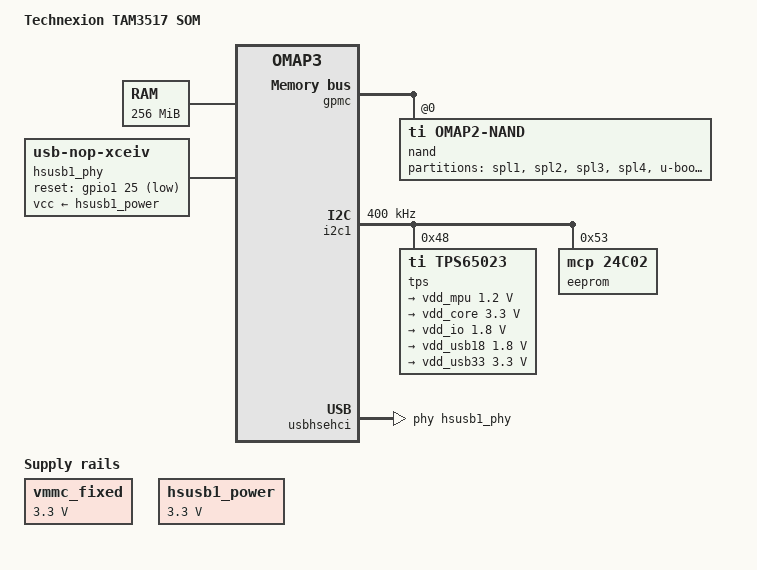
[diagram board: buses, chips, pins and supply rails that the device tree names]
#include "am3517.dtsi"

/ {
	model = "Technexion TAM3517 SOM";
	compatible = "ti,tam3517", "ti,am3517", "ti,omap3";

	memory {
		device_type = "memory";
		reg = <0x80000000 0x10000000>; /* 256 MB */
	};

	vmmc_fixed: vmmc {
		compatible = "regulator-fixed";
		regulator-name = "vmmc";
		regulator-min-microvolt = <3300000>;
		regulator-max-microvolt = <3300000>;
	};

	/* HS USB Port 1 Power, no idea where it gets its power from */
	hsusb1_power: hsusb1_power_reg {
		compatible = "regulator-fixed";
		regulator-name = "hsusb1_vbus";
		regulator-min-microvolt = <3300000>;
		regulator-max-microvolt = <3300000>;
	};

	/*
	 * http://www.ti.com/lit/er/sprz306e/sprz306e.pdf#page=42&zoom=auto,0,712
	 *
	 * HSUSB Interoperability Issue with SMSC USB3320 PHY
	 * Revision(s) Affected 1.1 and earlier
	 * Details
	 *   After suspend sequence, USB3320 USB PHY goes correctly in low-power mode:
	 *    •  DP Line goes High and DM line remains Low (J state)
	 *    •  Rbias Voltage = 0 V Whereas OMAP HOST controller exit from suspend
	 *       mode (while it is expected to keep in low power mode). OMAP Host
	 *       state (exited from low power mode) is inconsistent with PHY state
	 *       (low power mode) resulting in a lockup situation.
	 *   Resuming the port has no effect as HOST controller has already exited from
	 *   low-power mode.
	 * Root cause:
	 *   Delay in assertion of DIR causes USBHOST ULPI interface to exit ULPI
	 *   Low Power mode. USB3320 USB PHY assert DIR signal 3 clock cycle after
	 *   STP signal is de-asserted.
	 * Workaround(s)
	 *   There is no workaround
	 *
	 * The tam3517 has a SMSC USB3320 PHY connected, to make it work
	 *   usbcore.autosuspend=-1 is needed as linux boot args
	 *
	 * TODO: can we set that here somewhere?
	 */
	hsusb1_phy: hsusb1_phy {
		compatible = "usb-nop-xceiv";
		reset-gpios = <&gpio1 25 GPIO_ACTIVE_LOW>;
		vcc-supply = <&hsusb1_power>;
	};
};

&omap3_pmx_core {
	gpmc_pins: pinmux_gpmc_pins {
		pinctrl-single,pins = <
			/* gpmc_ncs0 not configurable according to the TRM */
			OMAP3_CORE1_IOPAD(0x208e, PIN_INPUT | MUX_MODE0)	/* gpmc_d0.gpmc_d0 */
			OMAP3_CORE1_IOPAD(0x2090, PIN_INPUT | MUX_MODE0)	/* gpmc_d0.gpmc_d1 */
			OMAP3_CORE1_IOPAD(0x2092, PIN_INPUT | MUX_MODE0)	/* gpmc_d0.gpmc_d2 */
			OMAP3_CORE1_IOPAD(0x2094, PIN_INPUT | MUX_MODE0)	/* gpmc_d0.gpmc_d3 */
			OMAP3_CORE1_IOPAD(0x2096, PIN_INPUT | MUX_MODE0)	/* gpmc_d0.gpmc_d4 */
			OMAP3_CORE1_IOPAD(0x2098, PIN_INPUT | MUX_MODE0)	/* gpmc_d0.gpmc_d5 */
			OMAP3_CORE1_IOPAD(0x209a, PIN_INPUT | MUX_MODE0)	/* gpmc_d0.gpmc_d6 */
			OMAP3_CORE1_IOPAD(0x209c, PIN_INPUT | MUX_MODE0)	/* gpmc_d0.gpmc_d7 */
			OMAP3_CORE1_IOPAD(0x209e, PIN_INPUT | MUX_MODE0)	/* gpmc_d8.gpmc_d8 */
			OMAP3_CORE1_IOPAD(0x20a0, PIN_INPUT | MUX_MODE0)	/* gpmc_d9.gpmc_d9 */
			OMAP3_CORE1_IOPAD(0x20a2, PIN_INPUT | MUX_MODE0)	/* gpmc_d10.gpmc_d10 */
			OMAP3_CORE1_IOPAD(0x20a4, PIN_INPUT | MUX_MODE0)	/* gpmc_d11.gpmc_d11 */
			OMAP3_CORE1_IOPAD(0x20a6, PIN_INPUT | MUX_MODE0)	/* gpmc_d12.gpmc_d12 */
			OMAP3_CORE1_IOPAD(0x20a8, PIN_INPUT | MUX_MODE0)	/* gpmc_d13.gpmc_d13 */
			OMAP3_CORE1_IOPAD(0x20aa, PIN_INPUT | MUX_MODE0)	/* gpmc_d14.gpmc_d14 */
			OMAP3_CORE1_IOPAD(0x20ac, PIN_INPUT | MUX_MODE0)	/* gpmc_d15.gpmc_d15 */
		>;
	};

	i2c1_pins: pinmux_i2c1_pins {
		pinctrl-single,pins = <
			OMAP3_CORE1_IOPAD(0x21ba, PIN_INPUT | MUX_MODE0)	/* i2c1_scl */
			OMAP3_CORE1_IOPAD(0x21bc, PIN_INPUT | MUX_MODE0)	/* i2c1_sda */
		>;
	};
};

&omap3_pmx_core2 {
	hsusbb1_pins: pinmux_hsusbb1_pins {
		pinctrl-single,pins = <
			OMAP3430_CORE2_IOPAD(0x25da, PIN_OUTPUT | MUX_MODE3)		/* etk_ctl.hsusb1_clk */
			OMAP3430_CORE2_IOPAD(0x25d8, PIN_OUTPUT | MUX_MODE3)		/* etk_clk.hsusb1_stp */
			OMAP3430_CORE2_IOPAD(0x25ec, PIN_INPUT_PULLDOWN | MUX_MODE3)	/* etk_d8.hsusb1_dir */
			OMAP3430_CORE2_IOPAD(0x25ee, PIN_INPUT_PULLDOWN | MUX_MODE3)	/* etk_d9.hsusb1_nxt */
			OMAP3430_CORE2_IOPAD(0x25dc, PIN_INPUT_PULLDOWN | MUX_MODE3)	/* etk_d0.hsusb1_data0 */
			OMAP3430_CORE2_IOPAD(0x25de, PIN_INPUT_PULLDOWN | MUX_MODE3)	/* etk_d1.hsusb1_data1 */
			OMAP3430_CORE2_IOPAD(0x25e0, PIN_INPUT_PULLDOWN | MUX_MODE3)	/* etk_d2.hsusb1_data2 */
			OMAP3430_CORE2_IOPAD(0x25e2, PIN_INPUT_PULLDOWN | MUX_MODE3)	/* etk_d3.hsusb1_data7 */
			OMAP3430_CORE2_IOPAD(0x25e4, PIN_INPUT_PULLDOWN | MUX_MODE3)	/* etk_d4.hsusb1_data4 */
			OMAP3430_CORE2_IOPAD(0x25e6, PIN_INPUT_PULLDOWN | MUX_MODE3)	/* etk_d5.hsusb1_data5 */
			OMAP3430_CORE2_IOPAD(0x25e8, PIN_INPUT_PULLDOWN | MUX_MODE3)	/* etk_d6.hsusb1_data6 */
			OMAP3430_CORE2_IOPAD(0x25ea, PIN_INPUT_PULLDOWN | MUX_MODE3)	/* etk_d7.hsusb1_data3 */
		>;
	};

	hsusb1_phy_pins: pinmux_hsusb1_phy_pins {
		pinctrl-single,pins = <
			OMAP3430_CORE2_IOPAD(0x25F0, PIN_OUTPUT | MUX_MODE4)	/* etk_d11.gpio_25 */
		>;
	};
};

&gpmc {
	status = "okay";
	pinctrl-names = "default";
	pinctrl-0 = <&gpmc_pins>;
	ranges = <0 0 0x08000000 0x10000000>;	/* CS0: NAND */

	nand@0,0 {
		compatible = "ti,omap2-nand";
		reg = <0 0 4>; /* CS0, offset 0 */
		nand-bus-width = <16>;
		ti,nand-ecc-opt = "sw";
		gpmc,device-nand = "true";
		gpmc,device-width = <2>;
		gpmc,sync-clk-ps = <0>;
		gpmc,cs-on-ns = <0>;
		gpmc,cs-rd-off-ns = <36>;
		gpmc,cs-wr-off-ns = <36>;
		gpmc,adv-on-ns = <6>;
		gpmc,adv-rd-off-ns = <24>;
		gpmc,adv-wr-off-ns = <36>;
		gpmc,we-on-ns = <0>;
		gpmc,we-off-ns = <30>;
		gpmc,oe-on-ns = <0>;
		gpmc,oe-off-ns = <48>;
		gpmc,access-ns = <54>;
		gpmc,rd-cycle-ns = <72>;
		gpmc,wr-cycle-ns = <72>;
		gpmc,wait-on-read = "true";
		gpmc,wait-on-write = "true";
		gpmc,bus-turnaround-ns = <0>;
		gpmc,cycle2cycle-delay-ns = <0>;
		gpmc,clk-activation-ns = <0>;
		gpmc,wait-monitoring-ns = <0>;
		gpmc,wr-access-ns = <30>;
		gpmc,wr-data-mux-bus-ns = <0>;

		#address-cells = <1>;
		#size-cells = <1>;

		/*
		 * device nand0 <omap2-nand.0>, # parts = 13
		 *  #: name                size            offset          mask_flags
		 *  0: spl1                0x00020000      0x00000000      0
		 *  1: spl2                0x00020000      0x00020000      0
		 *  2: spl3                0x00020000      0x00040000      0
		 *  3: spl4                0x00020000      0x00060000      0
		 *  4: u-boot              0x00100000      0x00080000      0
		 *  5: env1                0x00040000      0x00180000      0
		 *  6: env2                0x00040000      0x001c0000      0
		 *  7: u-boot2             0x00100000      0x00200000      0
		 *  8: bootparms           0x00040000      0x00300000      0
		 *  9: splash              0x000c0000      0x00340000      0
		 * 10: kernel1             0x00600000      0x00400000      0
		 * 11: kernel2             0x00600000      0x00a00000      0
		 * 12: ubisystem           0x1f000000      0x01000000      0
		 */

		partition@0 {
			label = "spl1";
			reg = <0x0 0x20000>;
		};

		partition@1 {
			label = "spl2";
			reg = <0x20000 0x20000>;
		};

		partition@2 {
			label = "spl3";
			reg = <0x40000 0x20000>;
		};

		partition@3 {
			label = "spl4";
			reg = <0x60000 0x20000>;
		};

		partition@4 {
			label = "u-boot";
			reg = <0x80000 0x100000>;
		};

		partition@5 {
			label = "env1";
			reg = <0x00180000 0x00040000>;
		};

		partition@6 {
			label = "env2";
			reg = <0x001c0000 0x00040000>;
		};

		partition@7 {
			label = "u-boot2";
			reg = <0x00200000 0x00100000>;
		};

		partition@8 {
			label = "bootparms";
			reg = <0x00300000 0x00040000>;
		};

		partition@9 {
			label = "splash";
			reg = <0x00340000 0x000c0000>;
		};

		partition@10 {
			label = "kernel1";
			reg = <0x00400000 0x00600000>;
		};

		partition@11 {
			label = "kernel2";
			reg = <0x00a00000 0x00600000>;
		};

		partition@12 {
			label = "ubisystem";
			reg = <0x01000000 0x1f000000>;
		};

	};
};

&i2c1 {
	status = "okay";
	clock-frequency = <400000>;
	pinctrl-names = "default";
	pinctrl-0 = <&i2c1_pins>;

	tps: tps@48 {
		compatible = "ti,tps65023";
		reg = <0x48>;
	};

	eeprom@53 {
		compatible = "mcp,24c02";
		reg = <0x53>;
		pagesize = <8>;
	};
};


&tps {
	compatible = "ti,tps65023";
	reg = <0x48>;

	regulators {
		VDCDC1 {
			regulator-name = "vdd_mpu";
			regulator-always-on;
			regulator-min-microvolt = <1200000>;
			regulator-max-microvolt = <1200000>;
		};

		VDCDC2 {
			regulator-name = "vdd_core";
			regulator-always-on;
			regulator-min-microvolt = <3300000>;
			regulator-max-microvolt = <3300000>;
		};

		VDCDC3 {
			regulator-name = "vdd_io";
			regulator-compatible = "VDCDC3";
			regulator-always-on;
			regulator-min-microvolt = <1800000>;
			regulator-max-microvolt = <1800000>;
		};

		LDO1 {
			regulator-name = "vdd_usb18";
			regulator-always-on;
			regulator-min-microvolt = <1800000>;
			regulator-max-microvolt = <1800000>;

		};

		LDO2 {
			regulator-name = "vdd_usb33";
			regulator-always-on;
			regulator-min-microvolt = <3300000>;
			regulator-max-microvolt = <3300000>;
		};

	};
};

&mcspi1 {
	status = "disabled";
};

&mcspi2 {
	status = "disabled";
};

&mcspi3 {
	status = "disabled";
};

/*
 * http://www.ti.com/lit/er/sprz306e/sprz306e.pdf#page=42&zoom=auto,0,712
 *
 * Advisory 1.1.29 HS USB: ECHI and OHCI Controllers Cannot Work Concurrently
 * Revision(s) Affected 1.1 and earlier
 * Details
 *   An issue in the USBHOST memory access arbiter prevents EHCI and OHCI Host
 *   Controllers from working simultaneously. As a result one cannot connect a
 *   HS and a FS USB devices on the USBHOST.
 * Workaround(s)
 *   No workaround existsfor the generic use-case.
 *   For low-throughput requirement a SW arbitration scheme can be implemented.
 */
&usbhshost {
	port1-mode = "ehci-phy";
};

&usbhsehci {
	phys = <&hsusb1_phy>;
};
